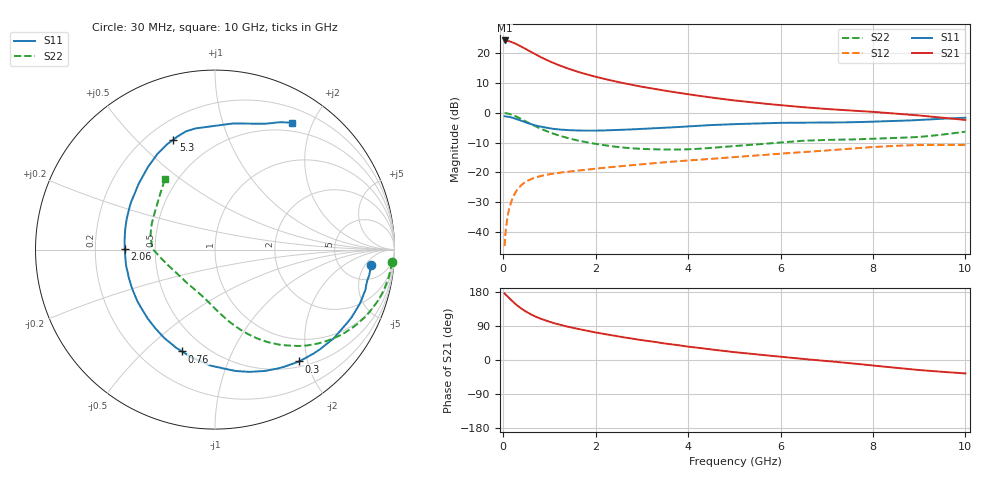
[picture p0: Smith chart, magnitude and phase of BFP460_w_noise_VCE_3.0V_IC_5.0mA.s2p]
! (c) 2016  Infineon Technologies AG, Munich
! Infineon Technologies  Discrete & RF Semiconductors
! BFP460
! VCE =  3.0 V,  IC =  5.0 mA
! Common Emitter S-Parameters:  Jan 2016
# GHz  S  MA  R  50
!  f  S11  S21  S12  S22
! GHz  MAG  ANG  MAG  ANG  MAG  ANG  MAG  ANG
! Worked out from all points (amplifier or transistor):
!   229 points, 30 MHz to 10 GHz, reference 50 ohm
!   highest |S21| = 24.3 dB at 30 MHz (marker M1)
!   |S21| within 3 dB of that: start of sweep to 499.6 MHz
!   unconditionally stable (mu >= 1): 3.076 GHz to 7.843 GHz
!   at 280 MHz: K = 0.16, MSG = 24.7 dB, |S12| = -26.3 dB
!   at 1.78 GHz: K = 0.76, MSG = 16.0 dB, |S12| = -19.1 dB
!   at 10 GHz: K = 0.95, MSG = 4.2 dB, |S12| = -10.8 dB
!   lowest NFmin = 0.78 dB at 450 MHz
!   S11 on the Smith chart (normalised r, x): 30 MHz: 10, -7; 300 MHz: 0.58, -1.86; 760 MHz: 0.37, -0.66; 2.06 GHz: 0.33, +0.00; 5.3 GHz: 0.30, +0.65; 10 GHz: 0.38, +1.71
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0.03  0.8737 -5.7  16.33 176.0  0.0058 86.4  0.9886 -4.0
0.05  0.8713 -9.3  16.18 172.8  0.0099 84.1  0.985 -6.1
0.09  0.8641 -17.0  16.12 168.1  0.0174 80.6  0.9745 -11.0
0.155  0.8426 -28.8  15.59 160.1  0.0291 74.1  0.9458 -18.5
0.22  0.815 -40.0  14.95 152.7  0.0396 68.5  0.9069 -25.6
0.3  0.78 -53.0  14.02 144.2  0.0509 62.4  0.8524 -33.6
0.38  0.7396 -64.7  13 136.8  0.0599 57.0  0.7933 -40.4
0.45  0.7078 -74.3  12.14 130.8  0.0667 53.0  0.7441 -45.8
0.6  0.6469 -92.2  10.46 120.3  0.0773 46.5  0.6477 -55.2
0.76  0.5965 -107.9  8.981 111.5  0.0849 41.7  0.5641 -63.0
0.9  0.5677 -119.9  7.946 105.0  0.0902 38.8  0.5058 -68.6
1.1  0.5367 -134.2  6.779 97.2  0.096 36.0  0.4425 -75.1
1.4  0.5129 -151.7  5.527 87.8  0.1031 33.6  0.3762 -82.8
1.7  0.5028 -166.0  4.655 79.8  0.1095 32.3  0.3321 -89.4
2.06  0.5028 179.7  3.914 71.5  0.1171 31.4  0.296 -96.7
2.62  0.5204 161.2  3.12 59.6  0.1291 30.3  0.2602 -109.2
3.4  0.5549 141.4  2.417 45.5  0.1459 28.4  0.2432 -127.4
5.1  0.6488 113.0  1.58 19.6  0.1826 24.1  0.2806 -163.4
5.3  0.6557 110.7  1.519 17.1  0.188 23.5  0.2878 -166.0
6.8  0.6839 96.2  1.189 -0.5  0.2275 17.4  0.3462 179.3
8.4  0.7238 75.8  0.982 -19.4  0.2776 6.6  0.3764 161.1
10  0.8258 58.9  0.758 -35.4  0.2898 -5.2  0.4811 125.5
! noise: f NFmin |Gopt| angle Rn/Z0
0.45  0.78  0.33  16  0.17
0.9  0.8  0.34  31  0.17
1.9  1.06  0.17  97  0.13
3.5  1.24  0.33  -153  0.1
